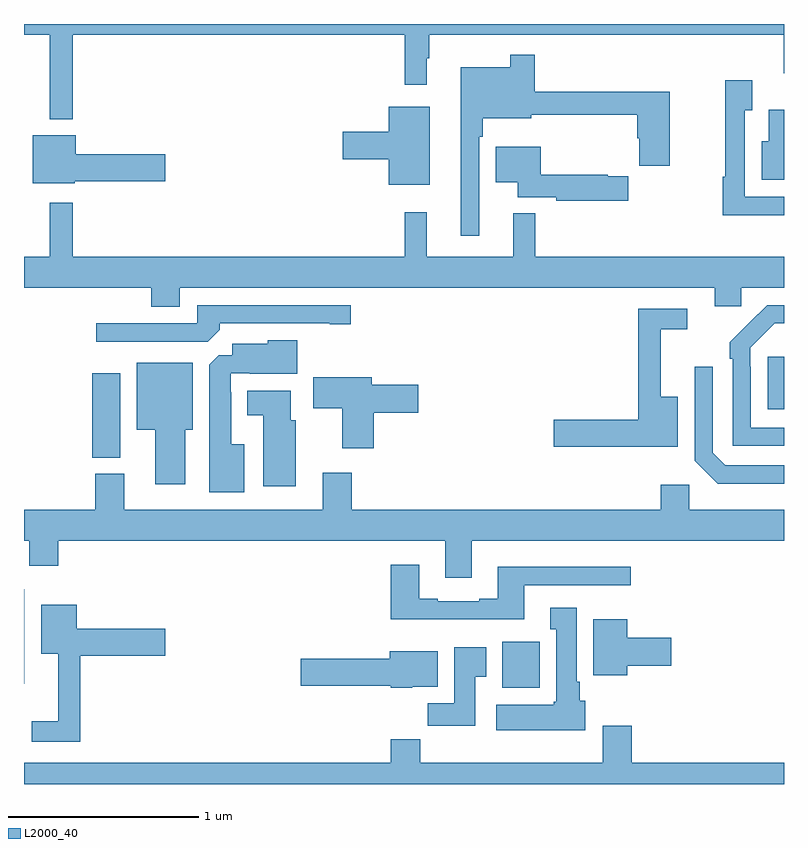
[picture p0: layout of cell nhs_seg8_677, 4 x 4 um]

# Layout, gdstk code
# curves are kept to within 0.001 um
import gdstk
lib = gdstk.Library(unit=1e-6, precision=1e-09)
def R(c, l, rs):  # rectangles x0, y0, x1, y1
    for r in rs: c.add(gdstk.rectangle(r[:2], r[2:], *l))
def P(c, l, *ps):  # polygons
    for p in ps: c.add(gdstk.Polygon(p, *l))
L2000_40 = (2000, 40)

nhs_seg8_677 = lib.new_cell('nhs_seg8_677')
R(nhs_seg8_677, L2000_40, [(157.517,1102.406,157.714,1102.648), (155.36,1103.617,155.506,1104.061), (158.915,1103.873,159,1104.148)])
P(nhs_seg8_677, L2000_40, [(155,1105.844),(155.135,1105.844),(155.135,1105.4),(155.257,1105.4),(155.257,1105.844),(157.003,1105.844),(157.003,1105.581),(157.12,1105.581),(157.12,1105.721),(157.132,1105.721),(157.132,1105.844),(158.999,1105.844),(158.999,1105.642),(159,1105.642),(159,1105.9),(155,1105.9)],
  [(157.395,1105.307),(157.415,1105.307),(157.415,1105.403),(157.669,1105.403),(157.669,1105.422),(158.228,1105.422),(158.228,1105.299),(158.239,1105.299),(158.239,1105.153),(158.398,1105.153),(158.398,1105.543),(157.688,1105.543),(157.688,1105.738),(157.56,1105.738),(157.56,1105.672),(157.298,1105.672),(157.298,1104.786),(157.395,1104.786)],
  [(158.969,1104.894),(159,1104.894),(159,1104.99),(158.793,1104.99),(158.793,1105.447),(158.833,1105.447),(158.833,1105.603),(158.692,1105.603),(158.692,1105.097),(158.677,1105.097),(158.677,1104.893),(158.969,1104.893)],
  [(157.135,1105.465),(156.92,1105.465),(156.92,1105.334),(156.678,1105.334),(156.678,1105.187),(156.92,1105.187),(156.92,1105.055),(157.135,1105.055)],
  [(159,1105.45),(158.921,1105.45),(158.921,1105.282),(158.882,1105.282),(158.882,1105.079),(159,1105.079)],
  [(155.268,1105.072),(155.743,1105.072),(155.743,1105.214),(155.272,1105.214),(155.272,1105.315),(155.045,1105.315),(155.045,1105.061),(155.268,1105.061)],
  [(158.18,1105.098),(158.072,1105.098),(158.072,1105.107),(157.72,1105.107),(157.72,1105.255),(157.484,1105.255),(157.484,1105.067),(157.598,1105.067),(157.598,1104.989),(157.8,1104.989),(157.8,1104.97),(158.18,1104.97)],
  [(155.821,1104.512),(158.636,1104.512),(158.636,1104.414),(158.775,1104.414),(158.775,1104.512),(159,1104.512),(159,1104.676),(157.691,1104.676),(157.691,1104.904),(157.574,1104.904),(157.574,1104.676),(157.121,1104.676),(157.121,1104.91),(157.003,1104.91),(157.003,1104.676),(155.257,1104.676),(155.257,1104.958),(155.135,1104.958),(155.135,1104.676),(155,1104.676),(155,1104.512),(155.669,1104.512),(155.669,1104.413),(155.821,1104.413)],
  [(156.029,1104.29),(156.029,1104.324),(156.608,1104.324),(156.608,1104.319),(156.721,1104.319),(156.721,1104.42),(155.913,1104.42),(155.913,1104.324),(155.379,1104.324),(155.379,1104.228),(155.967,1104.228)],
  [(159,1103.775),(158.826,1103.775),(158.826,1104.095),(158.823,1104.095),(158.823,1104.195),(158.952,1104.324),(159,1104.324),(159,1104.42),(158.912,1104.42),(158.715,1104.225),(158.715,1104.137),(158.73,1104.137),(158.73,1103.679),(159,1103.679)],
  [(158.44,1103.938),(158.351,1103.938),(158.351,1104.294),(158.491,1104.294),(158.491,1104.402),(158.233,1104.402),(158.233,1103.816),(157.788,1103.816),(157.788,1103.674),(158.44,1103.674)],
  [(156.16,1103.689),(156.091,1103.689),(156.091,1103.963),(156.087,1103.963),(156.087,1104.063),(156.187,1104.063),(156.187,1104.059),(156.439,1104.059),(156.439,1104.235),(156.282,1104.235),(156.282,1104.217),(156.095,1104.217),(156.095,1104.156),(156.024,1104.156),(155.975,1104.107),(155.975,1103.435),(156.16,1103.435)],
  [(155.848,1103.765),(155.887,1103.765),(155.887,1104.118),(155.594,1104.118),(155.594,1103.765),(155.69,1103.765),(155.69,1103.478),(155.848,1103.478)],
  [(159,1103.577),(158.691,1103.577),(158.625,1103.643),(158.625,1104.097),(158.529,1104.097),(158.529,1103.601),(158.65,1103.48),(159,1103.48)],
  [(156.842,1103.855),(157.075,1103.855),(157.075,1104.002),(156.829,1104.002),(156.829,1104.04),(156.522,1104.04),(156.522,1103.878),(156.674,1103.878),(156.674,1103.667),(156.842,1103.667)],
  [(156.43,1103.814),(156.403,1103.814),(156.403,1103.971),(156.176,1103.971),(156.176,1103.84),(156.26,1103.84),(156.26,1103.466),(156.43,1103.466)],
  [(157.357,1103.18),(159,1103.18),(159,1103.344),(158.502,1103.344),(158.502,1103.476),(158.351,1103.476),(158.351,1103.344),(156.725,1103.344),(156.725,1103.539),(156.572,1103.539),(156.572,1103.344),(155.527,1103.344),(155.527,1103.532),(155.375,1103.532),(155.375,1103.344),(155,1103.344),(155,1103.18),(155.028,1103.18),(155.028,1103.049),(155.18,1103.049),(155.18,1103.18),(157.217,1103.18),(157.217,1102.986),(157.357,1102.986)],
  [(157.633,1102.947),(158.194,1102.947),(158.194,1103.044),(157.493,1103.044),(157.493,1102.876),(157.397,1102.876),(157.397,1102.863),(157.177,1102.863),(157.177,1102.876),(157.081,1102.876),(157.081,1103.053),(156.929,1103.053),(156.929,1102.766),(157.633,1102.766)],
  [(155.001,1102.923),(155,1102.924),(155,1102.428),(155.001,1102.428)],
  [(155.297,1102.574),(155.743,1102.574),(155.743,1102.716),(155.278,1102.716),(155.278,1102.843),(155.09,1102.843),(155.09,1102.586),(155.18,1102.586),(155.18,1102.231),(155.04,1102.231),(155.04,1102.122),(155.297,1102.122)],
  [(157.954,1102.338),(157.924,1102.338),(157.924,1102.438),(157.909,1102.438),(157.909,1102.828),(157.769,1102.828),(157.769,1102.715),(157.802,1102.715),(157.802,1102.332),(157.789,1102.332),(157.789,1102.318),(157.485,1102.318),(157.485,1102.184),(157.954,1102.184)],
  [(158.176,1102.523),(158.407,1102.523),(158.407,1102.67),(158.176,1102.67),(158.176,1102.768),(157.997,1102.768),(157.997,1102.472),(158.176,1102.472)],
  [(157.375,1102.465),(157.432,1102.465),(157.432,1102.621),(157.265,1102.621),(157.265,1102.324),(157.126,1102.324),(157.126,1102.206),(157.375,1102.206)],
  [(157.044,1102.412),(157.177,1102.412),(157.177,1102.6),(156.926,1102.6),(156.926,1102.559),(156.456,1102.559),(156.456,1102.417),(156.93,1102.417),(156.93,1102.406),(157.044,1102.406)],
  [(159,1102.012),(158.198,1102.012),(158.198,1102.207),(158.045,1102.207),(158.045,1102.012),(157.085,1102.012),(157.085,1102.136),(156.929,1102.136),(156.929,1102.012),(155,1102.012),(155,1101.9),(159,1101.9)])

lib.write_gds('nhs_seg8_677.gds')
